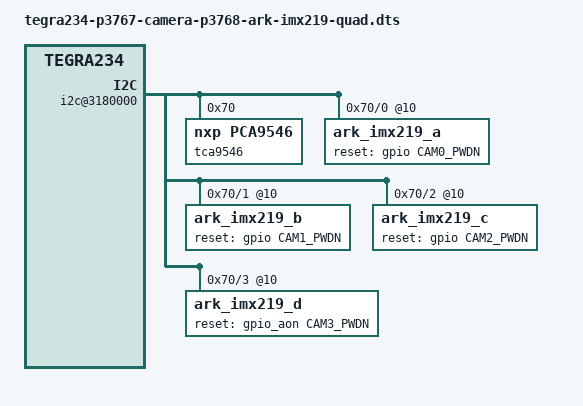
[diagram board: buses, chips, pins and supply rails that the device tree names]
// SPDX-License-Identifier: GPL-2.0-only
// SPDX-FileCopyrightText: Copyright (c) 2023-2024, NVIDIA CORPORATION & AFFILIATES. All rights reserved.

/dts-v1/;
/plugin/;

#define CAM0_PWDN	TEGRA234_MAIN_GPIO(H, 6)
#define CAM1_PWDN	TEGRA234_MAIN_GPIO(AC, 0)
#define CAM2_PWDN	TEGRA234_MAIN_GPIO(Y, 4)
#define CAM3_PWDN	TEGRA234_AON_GPIO(CC, 3)
#define CAMERA_I2C_MUX_BUS(x) (0x1E + x)

#include <dt-bindings/tegra234-p3767-0000-common.h>
#include "tegra234-camera-ark-quad-imx219.dtsi"

/ {
	overlay-name = "Camera ARK IMX219 Quad";
	jetson-header-name = "Jetson 24pin CSI Connector";
	compatible = JETSON_COMPATIBLE_P3768;

	fragment-camera@0 {
		target-path = "/";
		__overlay__ {
			bus@0 {
				i2c@3180000 {
					tca9546@70 {
						compatible = "nxp,pca9546";
						reg = <0x70>;
						i2c-parent = <&cam_i2c>;
						skip_mux_detect = "yes";
						status = "okay";
						force_bus_start = <CAMERA_I2C_MUX_BUS(0)>;
						i2c@0 {
							status = "okay";
							reg = <0>;
							i2c-mux,deselect-on-exit;
							ark_imx219_a@10 {
								status = "okay";
								reset-gpios = <&gpio CAM0_PWDN GPIO_ACTIVE_HIGH>;
							};
						};
						i2c@1 {
							status = "okay";
							reg = <1>;
							i2c-mux,deselect-on-exit;
							ark_imx219_b@10 {
								status = "okay";
								reset-gpios = <&gpio CAM1_PWDN GPIO_ACTIVE_HIGH>;
							};
						};
						i2c@2 {
							status = "okay";
							reg = <2>;
							i2c-mux,deselect-on-exit;
							ark_imx219_c@10 {
								status = "okay";
								reset-gpios = <&gpio CAM2_PWDN GPIO_ACTIVE_HIGH>;
							};
						};
						i2c@3 {
							status = "okay";
							reg = <3>;
							i2c-mux,deselect-on-exit;
							ark_imx219_d@10 {
								status = "okay";
								reset-gpios = <&gpio_aon CAM3_PWDN GPIO_ACTIVE_HIGH>;
							};
						};
					};
				};
				gpio@2200000 {
					camera-control-output-high {
					gpios = <CAM0_PWDN 1 CAM1_PWDN 1
						CAM2_PWDN 1 CAM3_PWDN 1>;
					label = "cam0-pwdn","cam1-pwdn",
						"cam2-pwdn", "cam3-pwdn";
					};
				};
			};
		};
	};
};
